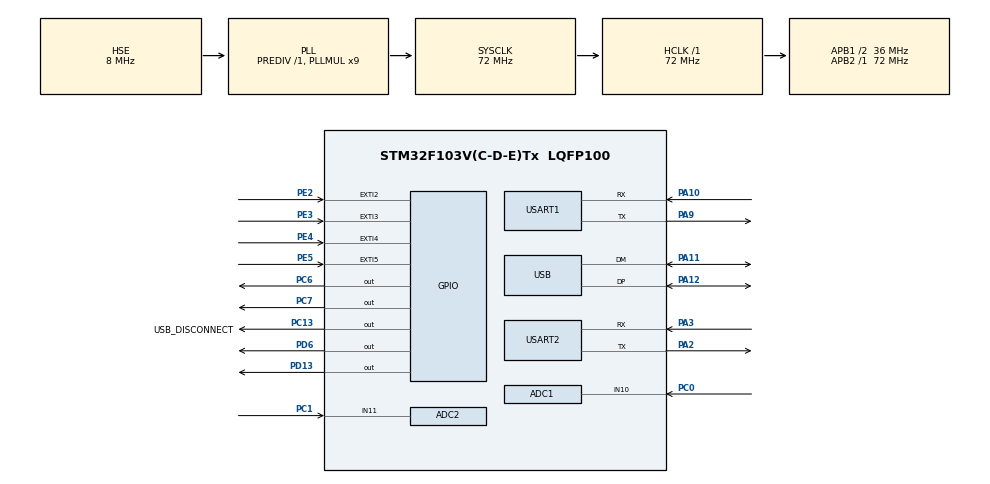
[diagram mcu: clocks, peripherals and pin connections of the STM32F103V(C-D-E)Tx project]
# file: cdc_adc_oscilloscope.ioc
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ADC1.Channel-0\#ChannelRegularConversion=ADC_CHANNEL_10
ADC1.ContinuousConvMode=ENABLE
ADC1.Mode=ADC_DUALMODE_INTERLFAST
ADC1.NbrOfConversionFlag=1
ADC1.Rank-0\#ChannelRegularConversion=1
ADC1.SamplingTime-0\#ChannelRegularConversion=ADC_SAMPLETIME_1CYCLE_5
ADC1.master=1
ADC2.Channel-0\#ChannelRegularConversion=ADC_CHANNEL_11
ADC2.Mode=ADC_DUALMODE_INTERLFAST
ADC2.NbrOfConversionFlag=1
ADC2.Rank-0\#ChannelRegularConversion=1
ADC2.SamplingTime-0\#ChannelRegularConversion=ADC_SAMPLETIME_1CYCLE_5
Dma.ADC1.0.Direction=DMA_PERIPH_TO_MEMORY
Dma.ADC1.0.Instance=DMA1_Channel1
Dma.ADC1.0.MemDataAlignment=DMA_MDATAALIGN_WORD
Dma.ADC1.0.MemInc=DMA_MINC_ENABLE
Dma.ADC1.0.Mode=DMA_CIRCULAR
Dma.ADC1.0.PeriphDataAlignment=DMA_PDATAALIGN_WORD
Dma.ADC1.0.PeriphInc=DMA_PINC_DISABLE
Dma.ADC1.0.Priority=DMA_PRIORITY_HIGH
Dma.Request0=ADC1
FREERTOS.Tasks01=defaultTask,0,128,StartDefaultTask
FREERTOS.configTOTAL_HEAP_SIZE=3752
Mcu.Family=STM32F1
Mcu.Name=STM32F103V(C-D-E)Tx
Mcu.Package=LQFP100
NVIC.ADC1_2_IRQn=true\:5\:0\:false
NVIC.DMA1_Channel1_IRQn=true\:5\:0\:false
NVIC.EXTI2_IRQn=true\:5\:0\:false
NVIC.EXTI3_IRQn=true\:5\:0\:false
NVIC.EXTI4_IRQn=true\:5\:0\:false
NVIC.EXTI9_5_IRQn=true\:5\:0\:false
NVIC.PriorityGroup=NVIC_PRIORITYGROUP_4
NVIC.USB_HP_CAN1_TX_IRQn=true\:5\:0\:false
NVIC.USB_LP_CAN1_RX0_IRQn=true\:5\:0\:false
OSC_IN.Mode=HSE-External-Oscillator
OSC_IN.Signal=RCC_OSC_IN
OSC_OUT.Mode=HSE-External-Oscillator
OSC_OUT.Signal=RCC_OSC_OUT
PA10.Mode=Asynchronous
PA10.Signal=USART1_RX
PA11.Mode=Device
PA11.Signal=USB_DM
PA12.Mode=Device
PA12.Signal=USB_DP
PA2.Mode=Asynchronous
PA2.Signal=USART2_TX
PA3.Mode=Asynchronous
PA3.Signal=USART2_RX
PA9.Mode=Asynchronous
PA9.Signal=USART1_TX
PC0.Signal=ADCx_IN10
PC1.Signal=ADCx_IN11
PC13-TAMPER-RTC.GPIO_Label=USB_DISCONNECT
PC13-TAMPER-RTC.GPIO_ModeDefaultOutputPP=GPIO_MODE_OUTPUT_PP
PC13-TAMPER-RTC.GPIO_Speed=GPIO_SPEED_LOW
PC13-TAMPER-RTC.Signal=GPIO_Output
PC14-OSC32_IN.Mode=LSE-External-Oscillator
PC14-OSC32_IN.Signal=RCC_OSC32_IN
PC15-OSC32_OUT.Mode=LSE-External-Oscillator
PC15-OSC32_OUT.Signal=RCC_OSC32_OUT
PC6.Signal=GPIO_Output
PC7.Signal=GPIO_Output
PD13.Signal=GPIO_Output
PD6.Signal=GPIO_Output
PE2.Signal=GPXTI2
PE3.Signal=GPXTI3
PE4.Signal=GPXTI4
PE5.Signal=GPXTI5
ProjectManager.TargetToolchain=SW4STM32
RCC.ADCPresc=RCC_ADCPCLK2_DIV6
RCC.AHBFreq_Value=72000000
RCC.APB1CLKDivider=RCC_HCLK_DIV2
RCC.APB1Freq_Value=36000000
RCC.APB1TimFreq_Value=72000000
RCC.APB2Freq_Value=72000000
RCC.APB2TimFreq_Value=72000000
RCC.EnbaleCSS=true
RCC.HCLKFreq_Value=72000000
RCC.HSIState=RCC_HSI_ON
RCC.PLLMUL=RCC_PLL_MUL9
RCC.PLLSourceVirtual=RCC_PLLSOURCE_HSE
RCC.SYSCLKFreq_VALUE=72000000
RCC.SYSCLKSource=RCC_SYSCLKSOURCE_PLLCLK
RCC.USBFreq_Value=48000000
RCC.USBPrescaler=RCC_USBPLLCLK_DIV1_5
SH.ADCx_IN10.0=ADC1_IN10,IN10
SH.ADCx_IN11.0=ADC2_IN11,IN11
USB.ep0_mps=DEP0CTL_MPS_64
USB_DEVICE.USBD_CDC_INTERVAL=1
USB_DEVICE.USBD_HandleTypeDef=hUsbDeviceFS
USB_DEVICE.VirtualMode=Cdc
USB_DEVICE.VirtualModeFS=Cdc_FS
VP_FREERTOS_VS_ENABLE.Mode=Enabled
VP_USB_DEVICE_VS_USB_DEVICE_CDC_FS.Mode=CDC_FS
board=MB-STM32F103VET6

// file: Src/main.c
/**
  ******************************************************************************
  * File Name          : main.c
  * Description        : Main program body
  ******************************************************************************
  *
  * COPYRIGHT(c) 2015 STMicroelectronics
  *
  * Redistribution and use in source and binary forms, with or without modification,
  * are permitted provided that the following conditions are met:
  *   1. Redistributions of source code must retain the above copyright notice,
  *      this list of conditions and the following disclaimer.
  *   2. Redistributions in binary form must reproduce the above copyright notice,
  *      this list of conditions and the following disclaimer in the documentation
  *      and/or other materials provided with the distribution.
  *   3. Neither the name of STMicroelectronics nor the names of its contributors
  *      may be used to endorse or promote products derived from this software
  *      without specific prior written permission.
  *
  * THIS SOFTWARE IS PROVIDED BY THE COPYRIGHT HOLDERS AND CONTRIBUTORS "AS IS"
  * AND ANY EXPRESS OR IMPLIED WARRANTIES, INCLUDING, BUT NOT LIMITED TO, THE
  * IMPLIED WARRANTIES OF MERCHANTABILITY AND FITNESS FOR A PARTICULAR PURPOSE ARE
  * DISCLAIMED. IN NO EVENT SHALL THE COPYRIGHT HOLDER OR CONTRIBUTORS BE LIABLE
  * FOR ANY DIRECT, INDIRECT, INCIDENTAL, SPECIAL, EXEMPLARY, OR CONSEQUENTIAL
  * DAMAGES (INCLUDING, BUT NOT LIMITED TO, PROCUREMENT OF SUBSTITUTE GOODS OR
  * SERVICES; LOSS OF USE, DATA, OR PROFITS; OR BUSINESS INTERRUPTION) HOWEVER
  * CAUSED AND ON ANY THEORY OF LIABILITY, WHETHER IN CONTRACT, STRICT LIABILITY,
  * OR TORT (INCLUDING NEGLIGENCE OR OTHERWISE) ARISING IN ANY WAY OUT OF THE USE
  * OF THIS SOFTWARE, EVEN IF ADVISED OF THE POSSIBILITY OF SUCH DAMAGE.
  *
  ******************************************************************************
  */
#include "stm32f1xx_hal.h"
#include "cmsis_os.h"
#include "usb_device.h"

/* USER CODE BEGIN Includes */
#include "usbd_cdc.h"
#include "usbd_core.h"
/* USER CODE END Includes */

ADC_HandleTypeDef hadc1;
ADC_HandleTypeDef hadc2;
DMA_HandleTypeDef hdma_adc1;

UART_HandleTypeDef huart1;
UART_HandleTypeDef huart2;

osThreadId defaultTaskHandle;

/* USER CODE BEGIN PV */
/* Private variables ---------------------------------------------------------*/
osSemaphoreId conversionWait;
/* USER CODE END PV */

void SystemClock_Config(void);
static void MX_GPIO_Init(void);
static void MX_DMA_Init(void);
static void MX_ADC1_Init(void);
static void MX_ADC2_Init(void);
static void MX_USART1_UART_Init(void);
static void MX_USART2_UART_Init(void);
void StartDefaultTask(void const * argument);

/* USER CODE BEGIN PFP */
/* Private function prototypes -----------------------------------------------*/

/* USER CODE END PFP */

/* USER CODE BEGIN 0 */
#define USB_IS_ACTIVE() (hUsbDeviceFS.dev_state == USBD_STATE_CONFIGURED)
#define CDC_TX_FREE() (((USBD_CDC_HandleTypeDef *)hUsbDeviceFS.pClassData)->TxState == 0)
#define CDC_RX_FREE() (((USBD_CDC_HandleTypeDef *)hUsbDeviceFS.pClassData)->RxState == 0)

#define ADC_SAMPLE_BUF_SIZE 512

uint32_t adcbuf[ADC_SAMPLE_BUF_SIZE];
uint8_t txbuf[ADC_SAMPLE_BUF_SIZE];
uint8_t rxbuf[CDC_DATA_FS_MAX_PACKET_SIZE];

uint8_t appstate = 0;

void vTaskTransmitSamples(void const * arguments)
{
  uint32_t i;
  while (1)
  {
    // wait conversion
    osSemaphoreWait(conversionWait, 0);

    if (USB_IS_ACTIVE())
    {
      // copy values to TX buffer
      for (i = 0; i < ADC_SAMPLE_BUF_SIZE; i++)
      {
        txbuf[i] = adcbuf[i] / 16;
      }

      // send
      USBD_CDC_SetTxBuffer(&hUsbDeviceFS, txbuf, ADC_SAMPLE_BUF_SIZE);
      USBD_CDC_TransmitPacket(&hUsbDeviceFS);
      while (USB_IS_ACTIVE() && !CDC_TX_FREE());
    }
  }
}

void vTaskCommandReceive(void const * arguments)
{
  while (1)
  {
    if (USB_IS_ACTIVE())
    {
      USBD_CDC_SetRxBuffer(&hUsbDeviceFS, rxbuf);
      USBD_CDC_ReceivePacket(&hUsbDeviceFS);
      while (USB_IS_ACTIVE() && !CDC_RX_FREE());

      // commands
      switch (rxbuf[0])
      {
      case 'b':
        // begin
        if (appstate == 0)
        {
          appstate = 1;
          HAL_GPIO_WritePin(GPIOC, GPIO_PIN_7, GPIO_PIN_SET);
          HAL_ADCEx_MultiModeStart_DMA(&hadc1, adcbuf, ADC_SAMPLE_BUF_SIZE);
        }
        break;
      case 'e':
        // end
        if (appstate == 1)
        {
          appstate = 0;
          HAL_GPIO_WritePin(GPIOC, GPIO_PIN_7, GPIO_PIN_RESET);
          HAL_ADCEx_MultiModeStop_DMA(&hadc1);
          // Discard TX(IN) buffer
          USBD_LL_DataInStage(&hUsbDeviceFS, CDC_IN_EP, 0);
        }
        break;
      }

      rxbuf[0] = 0;

      // indicate connection state
      HAL_GPIO_WritePin(GPIOC, GPIO_PIN_6, GPIO_PIN_SET);
    }
    else
    {
      HAL_GPIO_WritePin(GPIOC, GPIO_PIN_6, GPIO_PIN_RESET);
    }
    osDelay(100);
  }
}

void HAL_ADC_ConvCpltCallback(ADC_HandleTypeDef* hadc)
{
  if (appstate == 1)
  {
    osSemaphoreRelease(conversionWait);
  }
}
/* USER CODE END 0 */

int main(void)
{

  /* MCU Configuration----------------------------------------------------------*/

  /* Reset of all peripherals, Initializes the Flash interface and the Systick. */
  HAL_Init();

  /* Configure the system clock */
  SystemClock_Config();

  /* Initialize all configured peripherals */
  MX_GPIO_Init();
  MX_DMA_Init();
  MX_ADC1_Init();
  MX_ADC2_Init();
  MX_USART1_UART_Init();
  MX_USART2_UART_Init();

  /* USER CODE BEGIN 2 */
  MX_USB_DEVICE_Init();
  HAL_Delay(500);
  /* USER CODE END 2 */

  /* USER CODE BEGIN RTOS_SEMAPHORES */
  /* add semaphores, ... */
  osSemaphoreDef(vSconversionWait);
  conversionWait = osSemaphoreCreate(osSemaphore(vSconversionWait), 1);
  /* USER CODE END RTOS_SEMAPHORES */

  /* USER CODE BEGIN RTOS_TIMERS */
  /* start timers, add new ones, ... */
#if 0
  /* USER CODE END RTOS_TIMERS */

  /* Create the thread(s) */
  /* definition and creation of defaultTask */
  osThreadDef(defaultTask, StartDefaultTask, osPriorityNormal, 0, 128);
  defaultTaskHandle = osThreadCreate(osThread(defaultTask), NULL);

  /* USER CODE BEGIN RTOS_THREADS */
  /* add threads, ... */
#endif
  osThreadDef(TransmitSamples, vTaskTransmitSamples, osPriorityNormal, 0, 128);
  osThreadCreate(osThread(TransmitSamples), NULL);

  osThreadDef(CommandReceive, vTaskCommandReceive, osPriorityNormal, 0, 128);
  osThreadCreate(osThread(CommandReceive), NULL);
  /* USER CODE END RTOS_THREADS */

  /* Start scheduler */
  osKernelStart();

  /* We should never get here as control is now taken by the scheduler */

  /* Infinite loop */
  while (1)
  {

  }

}

/** System Clock Configuration
*/
void SystemClock_Config(void)
{

  RCC_OscInitTypeDef RCC_OscInitStruct;
  RCC_ClkInitTypeDef RCC_ClkInitStruct;
  RCC_PeriphCLKInitTypeDef PeriphClkInit;

  RCC_OscInitStruct.OscillatorType = RCC_OSCILLATORTYPE_HSE;
  RCC_OscInitStruct.HSEState = RCC_HSE_ON;
  RCC_OscInitStruct.HSEPredivValue = RCC_HSE_PREDIV_DIV1;
  RCC_OscInitStruct.PLL.PLLState = RCC_PLL_ON;
  RCC_OscInitStruct.PLL.PLLSource = RCC_PLLSOURCE_HSE;
  RCC_OscInitStruct.PLL.PLLMUL = RCC_PLL_MUL9;
  HAL_RCC_OscConfig(&RCC_OscInitStruct);

  RCC_ClkInitStruct.ClockType = RCC_CLOCKTYPE_SYSCLK|RCC_CLOCKTYPE_PCLK1;
  RCC_ClkInitStruct.SYSCLKSource = RCC_SYSCLKSOURCE_PLLCLK;
  RCC_ClkInitStruct.AHBCLKDivider = RCC_SYSCLK_DIV1;
  RCC_ClkInitStruct.APB1CLKDivider = RCC_HCLK_DIV2;
  RCC_ClkInitStruct.APB2CLKDivider = RCC_HCLK_DIV1;
  HAL_RCC_ClockConfig(&RCC_ClkInitStruct, FLASH_LATENCY_2);

  PeriphClkInit.PeriphClockSelection = RCC_PERIPHCLK_ADC|RCC_PERIPHCLK_USB;
  PeriphClkInit.AdcClockSelection = RCC_ADCPCLK2_DIV6;
  PeriphClkInit.UsbClockSelection = RCC_USBPLLCLK_DIV1_5;
  HAL_RCCEx_PeriphCLKConfig(&PeriphClkInit);

  HAL_RCC_EnableCSS();

  HAL_SYSTICK_Config(HAL_RCC_GetHCLKFreq()/1000);

  HAL_SYSTICK_CLKSourceConfig(SYSTICK_CLKSOURCE_HCLK);

}

/* ADC1 init function */
void MX_ADC1_Init(void)
{

  ADC_MultiModeTypeDef multimode;
  ADC_ChannelConfTypeDef sConfig;

    /**Common config
    */
  hadc1.Instance = ADC1;
  hadc1.Init.ScanConvMode = ADC_SCAN_DISABLE;
  hadc1.Init.ContinuousConvMode = ENABLE;
  hadc1.Init.DiscontinuousConvMode = DISABLE;
  hadc1.Init.ExternalTrigConv = ADC_SOFTWARE_START;
  hadc1.Init.DataAlign = ADC_DATAALIGN_RIGHT;
  hadc1.Init.NbrOfConversion = 1;
  HAL_ADC_Init(&hadc1);

    /**Configure the ADC multi-mode
    */
  multimode.Mode = ADC_DUALMODE_INTERLFAST;
  HAL_ADCEx_MultiModeConfigChannel(&hadc1, &multimode);

    /**Configure Regular Channel
    */
  sConfig.Channel = ADC_CHANNEL_10;
  sConfig.Rank = 1;
  sConfig.SamplingTime = ADC_SAMPLETIME_1CYCLE_5;
  HAL_ADC_ConfigChannel(&hadc1, &sConfig);

}

/* ADC2 init function */
void MX_ADC2_Init(void)
{

  ADC_MultiModeTypeDef multimode;
  ADC_ChannelConfTypeDef sConfig;

    /**Common config
    */
  hadc2.Instance = ADC2;
  hadc2.Init.ScanConvMode = ADC_SCAN_DISABLE;
  hadc2.Init.ContinuousConvMode = DISABLE;
  hadc2.Init.DiscontinuousConvMode = DISABLE;
  hadc2.Init.ExternalTrigConv = ADC_SOFTWARE_START;
  hadc2.Init.DataAlign = ADC_DATAALIGN_RIGHT;
  hadc2.Init.NbrOfConversion = 1;
  HAL_ADC_Init(&hadc2);

    /**Configure the ADC multi-mode
    */
  multimode.Mode = ADC_DUALMODE_INTERLFAST;
  HAL_ADCEx_MultiModeConfigChannel(&hadc2, &multimode);

    /**Configure Regular Channel
    */
  sConfig.Channel = ADC_CHANNEL_11;
  sConfig.Rank = 1;
  sConfig.SamplingTime = ADC_SAMPLETIME_1CYCLE_5;
  HAL_ADC_ConfigChannel(&hadc2, &sConfig);

}

/* USART1 init function */
void MX_USART1_UART_Init(void)
{

  huart1.Instance = USART1;
  huart1.Init.BaudRate = 115200;
  huart1.Init.WordLength = UART_WORDLENGTH_8B;
  huart1.Init.StopBits = UART_STOPBITS_1;
  huart1.Init.Parity = UART_PARITY_NONE;
  huart1.Init.Mode = UART_MODE_TX_RX;
  huart1.Init.HwFlowCtl = UART_HWCONTROL_NONE;
  huart1.Init.OverSampling = UART_OVERSAMPLING_16;
  HAL_UART_Init(&huart1);

}

/* USART2 init function */
void MX_USART2_UART_Init(void)
{

  huart2.Instance = USART2;
  huart2.Init.BaudRate = 115200;
  huart2.Init.WordLength = UART_WORDLENGTH_8B;
  huart2.Init.StopBits = UART_STOPBITS_1;
  huart2.Init.Parity = UART_PARITY_NONE;
  huart2.Init.Mode = UART_MODE_TX_RX;
  huart2.Init.HwFlowCtl = UART_HWCONTROL_NONE;
  huart2.Init.OverSampling = UART_OVERSAMPLING_16;
  HAL_UART_Init(&huart2);

}

void MX_DMA_Init(void)
{
  /* DMA controller clock enable */
  __HAL_RCC_DMA1_CLK_ENABLE();

  /* DMA interrupt init */
  HAL_NVIC_SetPriority(DMA1_Channel1_IRQn, 5, 0);
  HAL_NVIC_EnableIRQ(DMA1_Channel1_IRQn);

}

/** Configure pins as
        * Analog
        * Input
        * Output
        * EVENT_OUT
        * EXTI
*/
void MX_GPIO_Init(void)
{

  GPIO_InitTypeDef GPIO_InitStruct;

  /* GPIO Ports Clock Enable */
  __GPIOE_CLK_ENABLE();
  __GPIOC_CLK_ENABLE();
  __GPIOA_CLK_ENABLE();
  __GPIOD_CLK_ENABLE();

  /*Configure GPIO pins : PE2 PE3 PE4 PE5 */
  GPIO_InitStruct.Pin = GPIO_PIN_2|GPIO_PIN_3|GPIO_PIN_4|GPIO_PIN_5;
  GPIO_InitStruct.Mode = GPIO_MODE_IT_RISING;
  GPIO_InitStruct.Pull = GPIO_NOPULL;
  HAL_GPIO_Init(GPIOE, &GPIO_InitStruct);

  /*Configure GPIO pins : PC13 PC6 PC7 */
  GPIO_InitStruct.Pin = GPIO_PIN_13|GPIO_PIN_6|GPIO_PIN_7;
  GPIO_InitStruct.Mode = GPIO_MODE_OUTPUT_PP;
  GPIO_InitStruct.Speed = GPIO_SPEED_LOW;
  HAL_GPIO_Init(GPIOC, &GPIO_InitStruct);

  /*Configure GPIO pins : PD13 PD6 */
  GPIO_InitStruct.Pin = GPIO_PIN_13|GPIO_PIN_6;
  GPIO_InitStruct.Mode = GPIO_MODE_OUTPUT_PP;
  GPIO_InitStruct.Speed = GPIO_SPEED_LOW;
  HAL_GPIO_Init(GPIOD, &GPIO_InitStruct);

  /* EXTI interrupt init*/
  HAL_NVIC_SetPriority(EXTI2_IRQn, 5, 0);
  HAL_NVIC_EnableIRQ(EXTI2_IRQn);

  HAL_NVIC_SetPriority(EXTI3_IRQn, 5, 0);
  HAL_NVIC_EnableIRQ(EXTI3_IRQn);

  HAL_NVIC_SetPriority(EXTI4_IRQn, 5, 0);
  HAL_NVIC_EnableIRQ(EXTI4_IRQn);

  HAL_NVIC_SetPriority(EXTI9_5_IRQn, 5, 0);
  HAL_NVIC_EnableIRQ(EXTI9_5_IRQn);

}

/* StartDefaultTask function */
void StartDefaultTask(void const * argument)
{
  /* init code for USB_DEVICE */
  MX_USB_DEVICE_Init();

  for(;;)
  {
    osDelay(1);
  }
}

/************************ (C) COPYRIGHT STMicroelectronics *****END OF FILE****/
